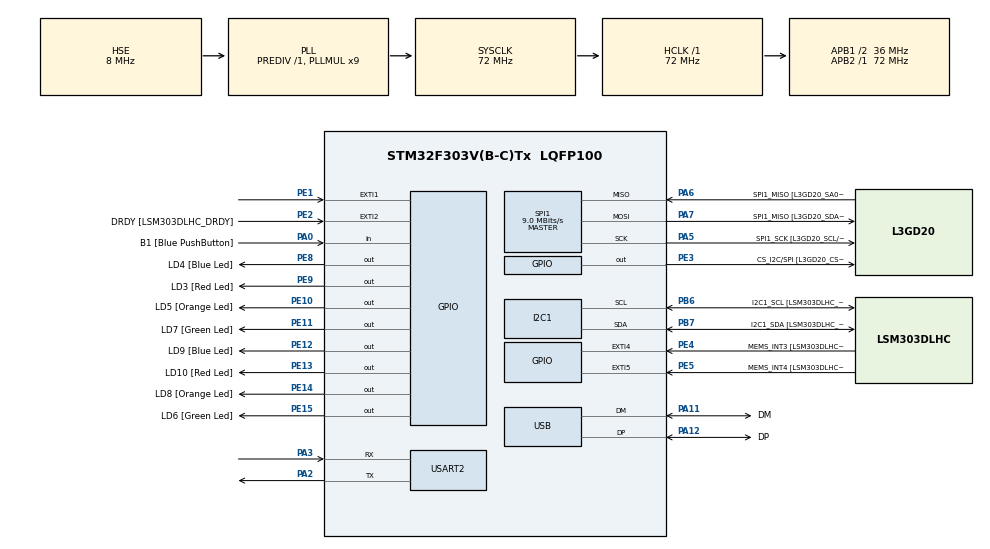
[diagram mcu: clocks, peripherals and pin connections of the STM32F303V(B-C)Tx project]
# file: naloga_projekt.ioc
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I2C1.Timing=0x00201D2B
I2C1.Timing-I2C=0x2000090E
Mcu.Family=STM32F3
Mcu.Name=STM32F303V(B-C)Tx
Mcu.Package=LQFP100
NVIC.EXTI1_IRQn=true\:0\:0\:false\:false\:true\:true\:true\:true
NVIC.PriorityGroup=NVIC_PRIORITYGROUP_0
NVIC.USART2_IRQn=true\:0\:0\:false\:false\:true\:true\:true\:true
NVIC.USB_LP_CAN_RX0_IRQn=true\:0\:0\:false\:false\:true\:false\:true\:true
PA0.GPIO_Label=B1 [Blue PushButton]
PA0.Signal=GPIO_Input
PA11.GPIO_Label=DM
PA11.Mode=Device
PA11.Signal=USB_DM
PA12.GPIO_Label=DP
PA12.Mode=Device
PA12.Signal=USB_DP
PA13.GPIO_Label=SWDIO
PA13.Mode=Serial_Wire
PA13.Signal=SYS_JTMS-SWDIO
PA14.GPIO_Label=SWCLK
PA14.Mode=Serial_Wire
PA14.Signal=SYS_JTCK-SWCLK
PA2.Mode=Asynchronous
PA2.Signal=USART2_TX
PA3.Mode=Asynchronous
PA3.Signal=USART2_RX
PA5.GPIO_Label=SPI1_SCK [L3GD20_SCL/SPC]
PA5.Mode=Full_Duplex_Master
PA5.Signal=SPI1_SCK
PA6.GPIO_Label=SPI1_MISO [L3GD20_SA0/SDO]
PA6.Mode=Full_Duplex_Master
PA6.Signal=SPI1_MISO
PA7.GPIO_Label=SPI1_MISO [L3GD20_SDA/SDI/SDO]
PA7.Mode=Full_Duplex_Master
PA7.Signal=SPI1_MOSI
PB3.GPIO_Label=SWO
PB3.Signal=SYS_JTDO-TRACESWO
PB6.GPIO_Label=I2C1_SCL [LSM303DLHC_SCL]
PB6.GPIO_Pu=GPIO_PULLUP
PB6.Mode=I2C
PB6.Signal=I2C1_SCL
PB7.GPIO_Label=I2C1_SDA [LSM303DLHC_SDA]
PB7.GPIO_Pu=GPIO_PULLUP
PB7.Mode=I2C
PB7.Signal=I2C1_SDA
PC14-OSC32_IN.GPIO_Label=OSC32_IN
PC14-OSC32_IN.Signal=RCC_OSC32_IN
PC15-OSC32_OUT.GPIO_Label=OSC32_OUT
PC15-OSC32_OUT.Signal=RCC_OSC32_OUT
PE1.Signal=GPXTI1
PE10.GPIO_Label=LD5 [Orange Led]
PE10.Signal=GPIO_Output
PE11.GPIO_Label=LD7 [Green Led]
PE11.Signal=GPIO_Output
PE12.GPIO_Label=LD9 [Blue Led]
PE12.Signal=GPIO_Output
PE13.GPIO_Label=LD10 [Red Led]
PE13.Signal=GPIO_Output
PE14.GPIO_Label=LD8 [Orange Led]
PE14.Signal=GPIO_Output
PE15.GPIO_Label=LD6 [Green Led]
PE15.Signal=GPIO_Output
PE2.GPIO_Label=DRDY [LSM303DLHC_DRDY]
PE2.GPIO_ModeDefaultEXTI=GPIO_MODE_EVT_RISING
PE2.Signal=GPXTI2
PE3.GPIO_Label=CS_I2C/SPI [L3GD20_CS_I2C/SPI]
PE3.GPIO_Speed=GPIO_SPEED_FREQ_HIGH
PE3.Signal=GPIO_Output
PE4.GPIO_Label=MEMS_INT3 [LSM303DLHC_INT1]
PE4.GPIO_ModeDefaultEXTI=GPIO_MODE_EVT_RISING
PE4.Signal=GPXTI4
PE5.GPIO_Label=MEMS_INT4 [LSM303DLHC_INT2]
PE5.GPIO_ModeDefaultEXTI=GPIO_MODE_EVT_RISING
PE5.Signal=GPXTI5
PE8.GPIO_Label=LD4 [Blue Led]
PE8.Signal=GPIO_Output
PE9.GPIO_Label=LD3 [Red Led]
PE9.Signal=GPIO_Output
PF0-OSC_IN.GPIO_Label=OSC_IN
PF0-OSC_IN.Mode=HSE-External-Clock-Source
PF0-OSC_IN.Signal=RCC_OSC_IN
PF1-OSC_OUT.GPIO_Label=OSC_OUT
PF1-OSC_OUT.Signal=RCC_OSC_OUT
ProjectManager.HeapSize=0x200
ProjectManager.StackSize=0x400
ProjectManager.TargetToolchain=STM32CubeIDE
RCC.AHBFreq_Value=72000000
RCC.APB1CLKDivider=RCC_HCLK_DIV2
RCC.APB1Freq_Value=36000000
RCC.APB1TimFreq_Value=72000000
RCC.APB2Freq_Value=72000000
RCC.APB2TimFreq_Value=72000000
RCC.CortexFreq_Value=72000000
RCC.HCLKFreq_Value=72000000
RCC.HSE_VALUE=8000000
RCC.HSI_VALUE=8000000
RCC.LSE_VALUE=32768
RCC.PLLMUL=RCC_PLL_MUL9
RCC.PRESCALERUSB=RCC_USBCLKSOURCE_PLL_DIV1_5
RCC.SYSCLKFreq_VALUE=72000000
RCC.SYSCLKSourceVirtual=RCC_SYSCLKSOURCE_PLLCLK
RCC.USBFreq_Value=48000000
SPI1.BaudRatePrescaler=SPI_BAUDRATEPRESCALER_8
SPI1.BaudRatePrescaler-Full_Duplex_Master=SPI_BAUDRATEPRESCALER_2
SPI1.CLKPhase=SPI_PHASE_2EDGE
SPI1.CLKPolarity=SPI_POLARITY_HIGH
SPI1.CalculateBaudRate=9.0 MBits/s
SPI1.CalculateBaudRate-Full_Duplex_Master=24.0 MBits/s
SPI1.DataSize=SPI_DATASIZE_8BIT
SPI1.Direction=SPI_DIRECTION_2LINES
SPI1.Mode=SPI_MODE_MASTER
SPI1.Mode-Full_Duplex_Master=SPI_MODE_MASTER
SPI1.VirtualType=VM_MASTER
TIM2.Prescaler=7199
USART2.VirtualMode-Asynchronous=VM_ASYNC
USB_DEVICE.CLASS_NAME_FS=CDC
USB_DEVICE.VirtualMode=Cdc
USB_DEVICE.VirtualModeFS=Cdc_FS
VP_TIM2_VS_ClockSourceINT.Mode=Internal
VP_USB_DEVICE_VS_USB_DEVICE_CDC_FS.Mode=CDC_FS
board=STM32F3DISCOVERY

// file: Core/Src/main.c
/* USER CODE BEGIN Header */
/**
  ******************************************************************************
  * @file           : main.c
  *
  *
  ******************************************************************************
  */
/* USER CODE END Header */

#include "main.h"
#include "usb_device.h"

/* USER CODE BEGIN Includes */
#include "usbd_cdc_if.h"
#include <stdio.h>
#include <string.h>
#include <math.h>
#include <stdbool.h>
/* USER CODE END Includes */

#define ESP_CFG_AP_SSID "STM32_CFG"
#define ESP_CFG_AP_PASS "12345678"
#define ESP_CFG_PORT 8080
#define ESP_CFG_TIMEOUT  300000

#define GYRO_SENS_500DPS  (0.0175f)

#define WIFI_SSID "7C5E04"
#define WIFI_PASS "erikSmrdi"

#define TCP_SERVER_IP "172.20.10.2"
#define TCP_SERVER_PORT 9000

#define SEND_EVERY_MS 50

I2C_HandleTypeDef hi2c1;
SPI_HandleTypeDef hspi1;
TIM_HandleTypeDef htim2;
UART_HandleTypeDef huart2;

/* USER CODE BEGIN PV */
volatile uint8_t gyro_data_ready = 0;
volatile uint32_t gyro_packet_counter = 0;

float gyro_bias_x = 0.0f;
float gyro_bias_y = 0.0f;
float gyro_bias_z = 0.0f;

#define ESP_RX_BUF_SIZE 1024
static volatile uint16_t esp_rx_w = 0;
static volatile uint16_t esp_rx_r = 0;
static uint8_t esp_rx_buf[ESP_RX_BUF_SIZE];
static uint8_t esp_rx_byte = 0;

static bool esp_ready = false;
static bool wifi_joined = false;
static bool tcp_connected = false;
static char active_tcp_ip[32] = TCP_SERVER_IP;

/* USER CODE END PV */

void SystemClock_Config(void);
static void MX_GPIO_Init(void);
static void MX_I2C1_Init(void);
static void MX_SPI1_Init(void);
static void MX_TIM2_Init(void);
static void MX_USART2_UART_Init(void);

/* USER CODE BEGIN PFP */
static void pavza(void);
uint8_t spi1_beriRegister(uint8_t reg);
void spi1_beriRegistre(uint8_t reg, uint8_t* buffer, uint8_t size);
void spi1_pisiRegister(uint8_t reg, uint8_t value);
void initL3GD20(void);
void Gyro_CalculateBias(void);

static void CDC_SendString(const char *s);

static void ESP_StartRxIT(void);
static void ESP_RxPush(uint8_t b);
static int  ESP_RxPop(void);
static void ESP_RxClear(void);

static void ESP_SendRaw(const char *s);
static void ESP_SendLine(const char *cmd);
static bool ESP_WaitFor(const char *needle, uint32_t timeout_ms);

static bool ESP_SendCmdWaitOK(const char *cmd, uint32_t timeout_ms);
static bool ESP_InitSequence(void);
static bool ESP_JoinWiFi(const char *ssid, const char *pass);
static bool ESP_OpenTCP(const char *ip, int port);
static bool ESP_SendTCP(const char *payload, uint32_t timeout_ms);

static bool ESP_StartConfigServer(void);
static bool ESP_ReadSetWifi(char *ssid, char *pass, char *ip, uint32_t timeout_ms);
static bool ESP_SendToConn(int id, const char *payload, uint32_t timeout_ms);

/* USER CODE END PFP */

/* USER CODE BEGIN 0 */

static void pavza(void){
  for(volatile uint32_t i=0;i<600;i++) __asm("nop");
}

uint8_t spi1_beriRegister(uint8_t reg)
{
  uint16_t buf_out = 0, buf_in = 0;
  reg |= 0x80;
  buf_out = reg;

  HAL_GPIO_WritePin(GPIOE, GPIO_PIN_3, GPIO_PIN_RESET);
  pavza();

  HAL_SPI_TransmitReceive(&hspi1, (uint8_t*)&buf_out, (uint8_t*)&buf_in, 2, HAL_MAX_DELAY);

  HAL_GPIO_WritePin(GPIOE, GPIO_PIN_3, GPIO_PIN_SET);
  pavza();

  return (uint8_t)(buf_in >> 8);
}

void spi1_pisiRegister(uint8_t reg, uint8_t value)
{
  uint16_t buf_out = reg | (value << 8);

  HAL_GPIO_WritePin(GPIOE, GPIO_PIN_3, GPIO_PIN_RESET);
  pavza();

  HAL_SPI_Transmit(&hspi1, (uint8_t*)&buf_out, 2, HAL_MAX_DELAY);

  HAL_GPIO_WritePin(GPIOE, GPIO_PIN_3, GPIO_PIN_SET);
  pavza();
}

void spi1_beriRegistre(uint8_t reg, uint8_t* buffer, uint8_t size)
{
  reg |= 0xC0;

  HAL_GPIO_WritePin(GPIOE, GPIO_PIN_3, GPIO_PIN_RESET);
  pavza();

  HAL_SPI_Transmit(&hspi1, &reg, 1, HAL_MAX_DELAY);
  HAL_SPI_Receive(&hspi1, buffer, size, HAL_MAX_DELAY);

  HAL_GPIO_WritePin(GPIOE, GPIO_PIN_3, GPIO_PIN_SET);
  pavza();
}

void initL3GD20(void)
{
  uint8_t who = spi1_beriRegister(0x0F);
  if (who != 0xD4 && who != 0xD3) {
      while(1){
        HAL_GPIO_TogglePin(GPIOE, GPIO_PIN_13);
        HAL_Delay(200);
      }
  }

  spi1_pisiRegister(0x20, 0x6F);
  spi1_pisiRegister(0x23, 0x10);
  spi1_pisiRegister(0x22, 0x08);
}

void HAL_GPIO_EXTI_Callback(uint16_t GPIO_Pin)
{
  if(GPIO_Pin == GPIO_PIN_1) {
    gyro_data_ready = 1;
  }
}

void Gyro_CalculateBias(void)
{
  uint8_t raw[6];
  float sx=0, sy=0, sz=0;
  uint32_t n=0;

  __HAL_TIM_SET_COUNTER(&htim2, 0);
  HAL_TIM_Base_Start(&htim2);

  HAL_GPIO_WritePin(GPIOE, LD4_Pin, GPIO_PIN_SET);

  while(__HAL_TIM_GET_COUNTER(&htim2) < 29170U)
  {
    if(gyro_data_ready){
      gyro_data_ready = 0;
      spi1_beriRegistre(0x28, raw, 6);

      int16_t gx = (int16_t)((raw[1]<<8)|raw[0]);
      int16_t gy = (int16_t)((raw[3]<<8)|raw[2]);
      int16_t gz = (int16_t)((raw[5]<<8)|raw[4]);

      sx += gx * GYRO_SENS_500DPS;
      sy += gy * GYRO_SENS_500DPS;
      sz += gz * GYRO_SENS_500DPS;
      n++;
    }
  }

  HAL_TIM_Base_Stop(&htim2);
  HAL_GPIO_WritePin(GPIOE, LD4_Pin, GPIO_PIN_RESET);

  if(n){
    gyro_bias_x = sx/(float)n;
    gyro_bias_y = sy/(float)n;
    gyro_bias_z = sz/(float)n;
  } else {
    gyro_bias_x = gyro_bias_y = gyro_bias_z = 0.0f;
  }

  gyro_packet_counter = 0;
}

static void CDC_SendString(const char *s)
{
  uint16_t len = (uint16_t)strlen(s);
  while(CDC_Transmit_FS((uint8_t*)s, len) == USBD_BUSY) {}
}

static void ESP_StartRxIT(void)
{
  HAL_UART_Receive_IT(&huart2, &esp_rx_byte, 1);
}

void HAL_UART_RxCpltCallback(UART_HandleTypeDef *huart)
{
  if (huart->Instance == USART2)
  {
    ESP_RxPush(esp_rx_byte);

    HAL_GPIO_TogglePin(GPIOE, GPIO_PIN_13);

    HAL_UART_Receive_IT(&huart2, &esp_rx_byte, 1);
  }
}

static void ESP_RxPush(uint8_t b)
{
  uint16_t next = (uint16_t)((esp_rx_w + 1) % ESP_RX_BUF_SIZE);
  if(next != esp_rx_r) {
    esp_rx_buf[esp_rx_w] = b;
    esp_rx_w = next;
  }
}

static int ESP_RxPop(void)
{
  if(esp_rx_r == esp_rx_w) return -1;
  uint8_t b = esp_rx_buf[esp_rx_r];
  esp_rx_r = (uint16_t)((esp_rx_r + 1) % ESP_RX_BUF_SIZE);
  return (int)b;
}

static void ESP_RxClear(void)
{
  esp_rx_r = esp_rx_w = 0;
}

static void ESP_SendRaw(const char *s)
{
  HAL_UART_Transmit(&huart2, (uint8_t*)s, (uint16_t)strlen(s), HAL_MAX_DELAY);
}

static void ESP_SendLine(const char *cmd)
{
  ESP_SendRaw(cmd);
  ESP_SendRaw("\r\n");
}

static bool ESP_WaitFor(const char *needle, uint32_t timeout_ms)
{
  uint32_t t0 = HAL_GetTick();
  char acc[256];
  size_t pos = 0;
  memset(acc, 0, sizeof(acc));

  while ((HAL_GetTick() - t0) < timeout_ms)
  {
    int v = ESP_RxPop();
    if (v < 0) { HAL_Delay(1); continue; }

    acc[pos++] = (char)v;
    if (pos >= sizeof(acc) - 1)
    {
      memmove(acc, acc + 128, 128);
      pos = 128;
      acc[pos] = '\0';
    }
    acc[pos] = '\0';

    if (strstr(acc, needle) != NULL) return true;
  }
  return false;
}

static bool ESP_SendCmdWaitOK(const char *cmd, uint32_t timeout_ms)
{
  ESP_RxClear();
  ESP_SendLine(cmd);

  if (ESP_WaitFor("OK", timeout_ms)) return true;

  if (ESP_WaitFor("ERROR", 50)) return false;

  return false;
}

static bool ESP_InitSequence(void)
{
  for (int i = 0; i < 5; i++)
  {
    if (ESP_SendCmdWaitOK("AT", 800)) {
      ESP_SendCmdWaitOK("ATE0", 800);

      if (!ESP_SendCmdWaitOK("AT+CWMODE=1", 1500)) return false;

      return true;
    }
    HAL_Delay(200);
  }
  return false;
}

static bool ESP_JoinWiFi(const char *ssid, const char *pass)
{
  char cmd[256];
  snprintf(cmd, sizeof(cmd), "AT+CWJAP=\"%s\",\"%s\"", ssid, pass);

  ESP_RxClear();
  ESP_SendLine(cmd);

  if(!ESP_WaitFor("OK\r\n", 20000)) return false;
  return true;
}

static bool ESP_OpenTCP(const char *ip, int port)
{
  char cmd[128];
  snprintf(cmd, sizeof(cmd), "AT+CIPSTART=\"TCP\",\"%s\",%d", ip, port);

  ESP_RxClear();
  ESP_SendLine(cmd);

  uint32_t t0 = HAL_GetTick();
  char acc[512];
  size_t pos = 0;
  memset(acc, 0, sizeof(acc));

  while ((HAL_GetTick() - t0) < 12000)
  {
    int v = ESP_RxPop();
    if (v < 0) { HAL_Delay(1); continue; }

    if (pos < sizeof(acc) - 1) acc[pos++] = (char)v;
    acc[pos] = 0;

    if (strstr(acc, "ERROR") || strstr(acc, "FAIL")) {
      CDC_SendString("CIPSTART RESP:\r\n");
      CDC_SendString(acc);
      CDC_SendString("\r\n");
      return false;
    }

    if (strstr(acc, "ALREADY CONNECTED")) return true;
    if (strstr(acc, "CONNECT")) return true;

    if (strstr(acc, "OK\r\n")) {
    }
  }

  return false;
}

static bool ESP_SendTCP(const char *payload, uint32_t timeout_ms)
{
  const int len = (int)strlen(payload);
  char cmd[64];

  ESP_RxClear();
  snprintf(cmd, sizeof(cmd), "AT+CIPSEND=%d", len);
  ESP_SendLine(cmd);

  if(!ESP_WaitFor(">", 3000)) return false;

  ESP_SendRaw(payload);

  if(!ESP_WaitFor("SEND OK\r\n", timeout_ms)) return false;
  return true;
}

static bool ESP_StartConfigServer(void)
{
  char cmd[128];

  if(!ESP_SendCmdWaitOK("AT+CWMODE=3", 2000)) return false;

  snprintf(cmd, sizeof(cmd),
           "AT+CWSAP=\"%s\",\"%s\",5,3",
           ESP_CFG_AP_SSID, ESP_CFG_AP_PASS);
  if(!ESP_SendCmdWaitOK(cmd, 4000)) return false;

  if(!ESP_SendCmdWaitOK("AT+CIPMUX=1", 2000)) return false;

  ESP_SendCmdWaitOK("AT+CIPDINFO=0", 2000);

  snprintf(cmd, sizeof(cmd), "AT+CIPSERVER=1,%d", ESP_CFG_PORT);
  if(!ESP_SendCmdWaitOK(cmd, 2000)) return false;

  return true;
}

static bool ESP_ReadSetWifi(char *ssid, char *pass, char *ip, uint32_t timeout_ms)
{
  uint32_t t0 = HAL_GetTick();

  static char stream[768];
  int sp = 0;
  memset(stream, 0, sizeof(stream));

  while ((HAL_GetTick() - t0) < timeout_ms)
  {
    int c = ESP_RxPop();
    if (c < 0) { HAL_Delay(1); continue; }

    if (sp < (int)sizeof(stream) - 1)
      stream[sp++] = (char)c;
    stream[sp] = 0;

    char *ipd = strstr(stream, "+IPD,");
    if (!ipd) continue;

    char *p = ipd + 5;
    int id = (int)strtol(p, &p, 10);
    if (*p != ',') continue;
    p++;

    int len = (int)strtol(p, &p, 10);
    char *colon = strchr(p, ':');
    if (!colon) continue;

    char *payload = colon + 1;
    if ((stream + sp - payload) < len) continue;

    char data[256];
    int copyLen = (len < 255) ? len : 255;
    memcpy(data, payload, copyLen);
    data[copyLen] = 0;

    for (int i = 0; data[i]; i++)
      if (data[i] == '\r' || data[i] == '\n') { data[i] = 0; break; }

    if (strncmp(data, "SETWIFI:ssid=", 13) != 0)
      continue;

    char *s = data + 13;
    char *pp = strstr(s, ";pass=");
    char *pi = strstr(s, ";ip=");

    if (!pp || !pi)
      continue;

    *pp = 0;
    *pi = 0;

    strncpy(ssid, s, 63);
    strncpy(pass, pp + 6, 63);
    strncpy(ip,   pi + 4, 31);

    ssid[63] = pass[63] = ip[31] = 0;

    CDC_SendString("[USB] CFG: SSID/PASS/IP parsed OK\r\n");
    ESP_SendToConn(id, "OK\r\n", 3000);

    return true;
  }

  return false;
}

static bool ESP_SendToConn(int id, const char *payload, uint32_t timeout_ms)
{
  int len = (int)strlen(payload);
  char cmd[64];

  ESP_RxClear();
  snprintf(cmd, sizeof(cmd), "AT+CIPSEND=%d,%d", id, len);
  ESP_SendLine(cmd);

  if(!ESP_WaitFor(">", 3000)) return false;

  ESP_SendRaw(payload);

  if(!ESP_WaitFor("SEND OK\r\n", timeout_ms)) return false;
  return true;
}

/* USER CODE END 0 */

int main(void)
{
  HAL_Init();
  SystemClock_Config();

  MX_GPIO_Init();
  MX_I2C1_Init();
  MX_SPI1_Init();
  MX_USB_DEVICE_Init();
  MX_TIM2_Init();
  MX_USART2_UART_Init();

  __HAL_SPI_ENABLE(&hspi1);
  HAL_GPIO_WritePin(GPIOE, GPIO_PIN_3, GPIO_PIN_SET);

  initL3GD20();
  Gyro_CalculateBias();

  CDC_SendString("\r\n STM32 start\r\n");

  ESP_StartRxIT();
  HAL_Delay(2000);

  CDC_SendString("ESP init...\r\n");
  esp_ready = ESP_InitSequence();

  if (!esp_ready)
  {
    CDC_SendString("ESP init FAILED\r\n");
    while (1);
  }

  CDC_SendString("ESP init OK\r\n");

  char active_ssid[64] = WIFI_SSID;
  char active_pass[64] = WIFI_PASS;

  CDC_SendString("Starting ESP CONFIG server...\r\n");

  if (ESP_StartConfigServer())
  {
    CDC_SendString("AP:STM32_CFG  PASS: 12345678\r\n");
    CDC_SendString("Send: SETWIFI:ssid=XXX;pass=YYY\r\n");

    if (ESP_ReadSetWifi(active_ssid, active_pass, active_tcp_ip, ESP_CFG_TIMEOUT))
    {
      CDC_SendString("New WiFi credentials received\r\n");
    }
    else
    {
      CDC_SendString("Config timeout -> using default WiFi\r\n");
    }

    CDC_SendString("Stopping CONFIG AP...\r\n");

    ESP_SendCmdWaitOK("AT+CIPSERVER=0", 2000);
    ESP_SendCmdWaitOK("AT+CIPMUX=0", 2000);

    /* HARD WiFi reset */
    ESP_SendCmdWaitOK("AT+CWQAP", 2000);
    ESP_SendCmdWaitOK("AT+CWMODE=1", 2000);

    HAL_Delay(2000);
  }
  else
  {
    CDC_SendString("Config server FAILED -> using default WiFi\r\n");
  }

  CDC_SendString("Joining target WiFi...\r\n");

  wifi_joined = ESP_JoinWiFi(active_ssid, active_pass);

  if (!wifi_joined)
  {
    CDC_SendString("WiFi join FAILED\r\n");
    while (1);
  }

  CDC_SendString("WiFi join OK\r\n");

  CDC_SendString(
    "PLEASE switch PC to target WiFi now\r\n"
    "Waiting before TCP...\r\n"
  );

  HAL_Delay(30000);

  tcp_connected = false;

  for (int i = 0; i < 10; i++)
  {
    CDC_SendString("Opening TCP...\r\n");

    if (ESP_OpenTCP(active_tcp_ip, TCP_SERVER_PORT))
    {
      CDC_SendString("TCP open OK\r\n");
      tcp_connected = true;
      break;
    }

    CDC_SendString("TCP failed, retry...\r\n");
    HAL_Delay(5000);
  }

  if (!tcp_connected)
  {
    CDC_SendString("TCP permanently failed\r\n");
  }

  uint8_t raw[6];
  char json[160];
  uint32_t last_send = HAL_GetTick();

  while (1)
  {
    if (gyro_data_ready)
    {
      gyro_data_ready = 0;

      spi1_beriRegistre(0x28, raw, 6);

      int16_t gx = (int16_t)((raw[1] << 8) | raw[0]);
      int16_t gy = (int16_t)((raw[3] << 8) | raw[2]);
      int16_t gz = (int16_t)((raw[5] << 8) | raw[4]);

      float fx = gx * GYRO_SENS_500DPS - gyro_bias_x;
      float fy = gy * GYRO_SENS_500DPS - gyro_bias_y;
      float fz = gz * GYRO_SENS_500DPS - gyro_bias_z;

      uint32_t now = HAL_GetTick();
      if (now - last_send >= SEND_EVERY_MS)
      {
        last_send = now;
        gyro_packet_counter++;

        snprintf(json, sizeof(json),
          "{\"id\":%lu,\"x\":%.3f,\"y\":%.3f,\"z\":%.3f}\r\n",
          (unsigned long)gyro_packet_counter, fx, fy, fz);

        CDC_SendString(json);

        if (!ESP_SendTCP(json, 5000))
        {
          CDC_SendString("TCP send failed -> reconnect\r\n");

          ESP_SendCmdWaitOK("AT+CIPCLOSE", 2000);
          HAL_Delay(500);

          tcp_connected = ESP_OpenTCP(active_tcp_ip, TCP_SERVER_PORT);
        }

      }
    }
  }
}

void SystemClock_Config(void)
{
  RCC_OscInitTypeDef RCC_OscInitStruct = {0};
  RCC_ClkInitTypeDef RCC_ClkInitStruct = {0};
  RCC_PeriphCLKInitTypeDef PeriphClkInit = {0};

  /** Initializes the RCC Oscillators according to the specified parameters
  * in the RCC_OscInitTypeDef structure.
  */
  RCC_OscInitStruct.OscillatorType = RCC_OSCILLATORTYPE_HSI|RCC_OSCILLATORTYPE_HSE;
  RCC_OscInitStruct.HSEState = RCC_HSE_BYPASS;
  RCC_OscInitStruct.HSEPredivValue = RCC_HSE_PREDIV_DIV1;
  RCC_OscInitStruct.HSIState = RCC_HSI_ON;
  RCC_OscInitStruct.HSICalibrationValue = RCC_HSICALIBRATION_DEFAULT;
  RCC_OscInitStruct.PLL.PLLState = RCC_PLL_ON;
  RCC_OscInitStruct.PLL.PLLSource = RCC_PLLSOURCE_HSE;
  RCC_OscInitStruct.PLL.PLLMUL = RCC_PLL_MUL9;
  if (HAL_RCC_OscConfig(&RCC_OscInitStruct) != HAL_OK)
  {
    Error_Handler();
  }

  /** Initializes the CPU, AHB and APB buses clocks
  */
  RCC_ClkInitStruct.ClockType = RCC_CLOCKTYPE_HCLK|RCC_CLOCKTYPE_SYSCLK
                              |RCC_CLOCKTYPE_PCLK1|RCC_CLOCKTYPE_PCLK2;
  RCC_ClkInitStruct.SYSCLKSource = RCC_SYSCLKSOURCE_PLLCLK;
  RCC_ClkInitStruct.AHBCLKDivider = RCC_SYSCLK_DIV1;
  RCC_ClkInitStruct.APB1CLKDivider = RCC_HCLK_DIV2;
  RCC_ClkInitStruct.APB2CLKDivider = RCC_HCLK_DIV1;

  if (HAL_RCC_ClockConfig(&RCC_ClkInitStruct, FLASH_LATENCY_2) != HAL_OK)
  {
    Error_Handler();
  }
  PeriphClkInit.PeriphClockSelection = RCC_PERIPHCLK_USB|RCC_PERIPHCLK_USART2
                              |RCC_PERIPHCLK_I2C1;
  PeriphClkInit.Usart2ClockSelection = RCC_USART2CLKSOURCE_PCLK1;
  PeriphClkInit.I2c1ClockSelection = RCC_I2C1CLKSOURCE_HSI;
  PeriphClkInit.USBClockSelection = RCC_USBCLKSOURCE_PLL_DIV1_5;
  if (HAL_RCCEx_PeriphCLKConfig(&PeriphClkInit) != HAL_OK)
  {
    Error_Handler();
  }
}

static void MX_I2C1_Init(void)
{

  hi2c1.Instance = I2C1;
  hi2c1.Init.Timing = 0x00201D2B;
  hi2c1.Init.OwnAddress1 = 0;
  hi2c1.Init.AddressingMode = I2C_ADDRESSINGMODE_7BIT;
  hi2c1.Init.DualAddressMode = I2C_DUALADDRESS_DISABLE;
  hi2c1.Init.OwnAddress2 = 0;
  hi2c1.Init.OwnAddress2Masks = I2C_OA2_NOMASK;
  hi2c1.Init.GeneralCallMode = I2C_GENERALCALL_DISABLE;
  hi2c1.Init.NoStretchMode = I2C_NOSTRETCH_DISABLE;
  if (HAL_I2C_Init(&hi2c1) != HAL_OK)
  {
    Error_Handler();
  }

  /** Configure Analogue filter
  */
  if (HAL_I2CEx_ConfigAnalogFilter(&hi2c1, I2C_ANALOGFILTER_ENABLE) != HAL_OK)
  {
    Error_Handler();
  }

  /** Configure Digital filter
  */
  if (HAL_I2CEx_ConfigDigitalFilter(&hi2c1, 0) != HAL_OK)
  {
    Error_Handler();
  }

}

static void MX_SPI1_Init(void)
{

  /* SPI1 parameter configuration*/
  hspi1.Instance = SPI1;
  hspi1.Init.Mode = SPI_MODE_MASTER;
  hspi1.Init.Direction = SPI_DIRECTION_2LINES;
  hspi1.Init.DataSize = SPI_DATASIZE_8BIT;
  hspi1.Init.CLKPolarity = SPI_POLARITY_HIGH;
  hspi1.Init.CLKPhase = SPI_PHASE_2EDGE;
  hspi1.Init.NSS = SPI_NSS_SOFT;
  hspi1.Init.BaudRatePrescaler = SPI_BAUDRATEPRESCALER_8;
  hspi1.Init.FirstBit = SPI_FIRSTBIT_MSB;
  hspi1.Init.TIMode = SPI_TIMODE_DISABLE;
  hspi1.Init.CRCCalculation = SPI_CRCCALCULATION_DISABLE;
  hspi1.Init.CRCPolynomial = 7;
  hspi1.Init.CRCLength = SPI_CRC_LENGTH_DATASIZE;
  hspi1.Init.NSSPMode = SPI_NSS_PULSE_DISABLE;
  if (HAL_SPI_Init(&hspi1) != HAL_OK)
  {
    Error_Handler();
  }

}

static void MX_TIM2_Init(void)
{

  TIM_ClockConfigTypeDef sClockSourceConfig = {0};
  TIM_MasterConfigTypeDef sMasterConfig = {0};

  htim2.Instance = TIM2;
  htim2.Init.Prescaler = 7199;
  htim2.Init.CounterMode = TIM_COUNTERMODE_UP;
  htim2.Init.Period = 4294967295;
  htim2.Init.ClockDivision = TIM_CLOCKDIVISION_DIV1;
  htim2.Init.AutoReloadPreload = TIM_AUTORELOAD_PRELOAD_DISABLE;
  if (HAL_TIM_Base_Init(&htim2) != HAL_OK)
  {
    Error_Handler();
  }
  sClockSourceConfig.ClockSource = TIM_CLOCKSOURCE_INTERNAL;
  if (HAL_TIM_ConfigClockSource(&htim2, &sClockSourceConfig) != HAL_OK)
  {
    Error_Handler();
  }
  sMasterConfig.MasterOutputTrigger = TIM_TRGO_RESET;
  sMasterConfig.MasterSlaveMode = TIM_MASTERSLAVEMODE_DISABLE;
  if (HAL_TIMEx_MasterConfigSynchronization(&htim2, &sMasterConfig) != HAL_OK)
  {
    Error_Handler();
  }

}

static void MX_USART2_UART_Init(void)
{

  huart2.Instance = USART2;
  huart2.Init.BaudRate = 115200;
  huart2.Init.WordLength = UART_WORDLENGTH_8B;
  huart2.Init.StopBits = UART_STOPBITS_1;
  huart2.Init.Parity = UART_PARITY_NONE;
  huart2.Init.Mode = UART_MODE_TX_RX;
  huart2.Init.HwFlowCtl = UART_HWCONTROL_NONE;
  huart2.Init.OverSampling = UART_OVERSAMPLING_16;
  huart2.Init.OneBitSampling = UART_ONE_BIT_SAMPLE_DISABLE;
  huart2.AdvancedInit.AdvFeatureInit = UART_ADVFEATURE_NO_INIT;
  if (HAL_UART_Init(&huart2) != HAL_OK)
  {
    Error_Handler();
  }

}

static void MX_GPIO_Init(void)
{
  GPIO_InitTypeDef GPIO_InitStruct = {0};

  /* GPIO Ports Clock Enable */
  __HAL_RCC_GPIOE_CLK_ENABLE();
  __HAL_RCC_GPIOC_CLK_ENABLE();
  __HAL_RCC_GPIOF_CLK_ENABLE();
  __HAL_RCC_GPIOA_CLK_ENABLE();
  __HAL_RCC_GPIOB_CLK_ENABLE();

  /*Configure GPIO pin Output Level */
  HAL_GPIO_WritePin(GPIOE, CS_I2C_SPI_Pin|LD4_Pin|LD3_Pin|LD5_Pin
                          |LD7_Pin|LD9_Pin|LD10_Pin|LD8_Pin
                          |LD6_Pin, GPIO_PIN_RESET);

  /*Configure GPIO pins : DRDY_Pin MEMS_INT3_Pin MEMS_INT4_Pin */
  GPIO_InitStruct.Pin = DRDY_Pin|MEMS_INT3_Pin|MEMS_INT4_Pin;
  GPIO_InitStruct.Mode = GPIO_MODE_EVT_RISING;
  GPIO_InitStruct.Pull = GPIO_NOPULL;
  HAL_GPIO_Init(GPIOE, &GPIO_InitStruct);

  /*Configure GPIO pin : CS_I2C_SPI_Pin */
  GPIO_InitStruct.Pin = CS_I2C_SPI_Pin;
  GPIO_InitStruct.Mode = GPIO_MODE_OUTPUT_PP;
  GPIO_InitStruct.Pull = GPIO_NOPULL;
  GPIO_InitStruct.Speed = GPIO_SPEED_FREQ_HIGH;
  HAL_GPIO_Init(CS_I2C_SPI_GPIO_Port, &GPIO_InitStruct);

  /*Configure GPIO pin : B1_Pin */
  GPIO_InitStruct.Pin = B1_Pin;
  GPIO_InitStruct.Mode = GPIO_MODE_INPUT;
  GPIO_InitStruct.Pull = GPIO_NOPULL;
  HAL_GPIO_Init(B1_GPIO_Port, &GPIO_InitStruct);

  /*Configure GPIO pins : LD4_Pin LD3_Pin LD5_Pin LD7_Pin
                           LD9_Pin LD10_Pin LD8_Pin LD6_Pin */
  GPIO_InitStruct.Pin = LD4_Pin|LD3_Pin|LD5_Pin|LD7_Pin
                          |LD9_Pin|LD10_Pin|LD8_Pin|LD6_Pin;
  GPIO_InitStruct.Mode = GPIO_MODE_OUTPUT_PP;
  GPIO_InitStruct.Pull = GPIO_NOPULL;
  GPIO_InitStruct.Speed = GPIO_SPEED_FREQ_LOW;
  HAL_GPIO_Init(GPIOE, &GPIO_InitStruct);

  /*Configure GPIO pin : PE1 */
  GPIO_InitStruct.Pin = GPIO_PIN_1;
  GPIO_InitStruct.Mode = GPIO_MODE_IT_RISING;
  GPIO_InitStruct.Pull = GPIO_NOPULL;
  HAL_GPIO_Init(GPIOE, &GPIO_InitStruct);

  /* EXTI interrupt init*/
  HAL_NVIC_SetPriority(EXTI1_IRQn, 0, 0);
  HAL_NVIC_EnableIRQ(EXTI1_IRQn);

}

void Error_Handler(void)
{
  __disable_irq();
  while (1)
  {
  }
}
